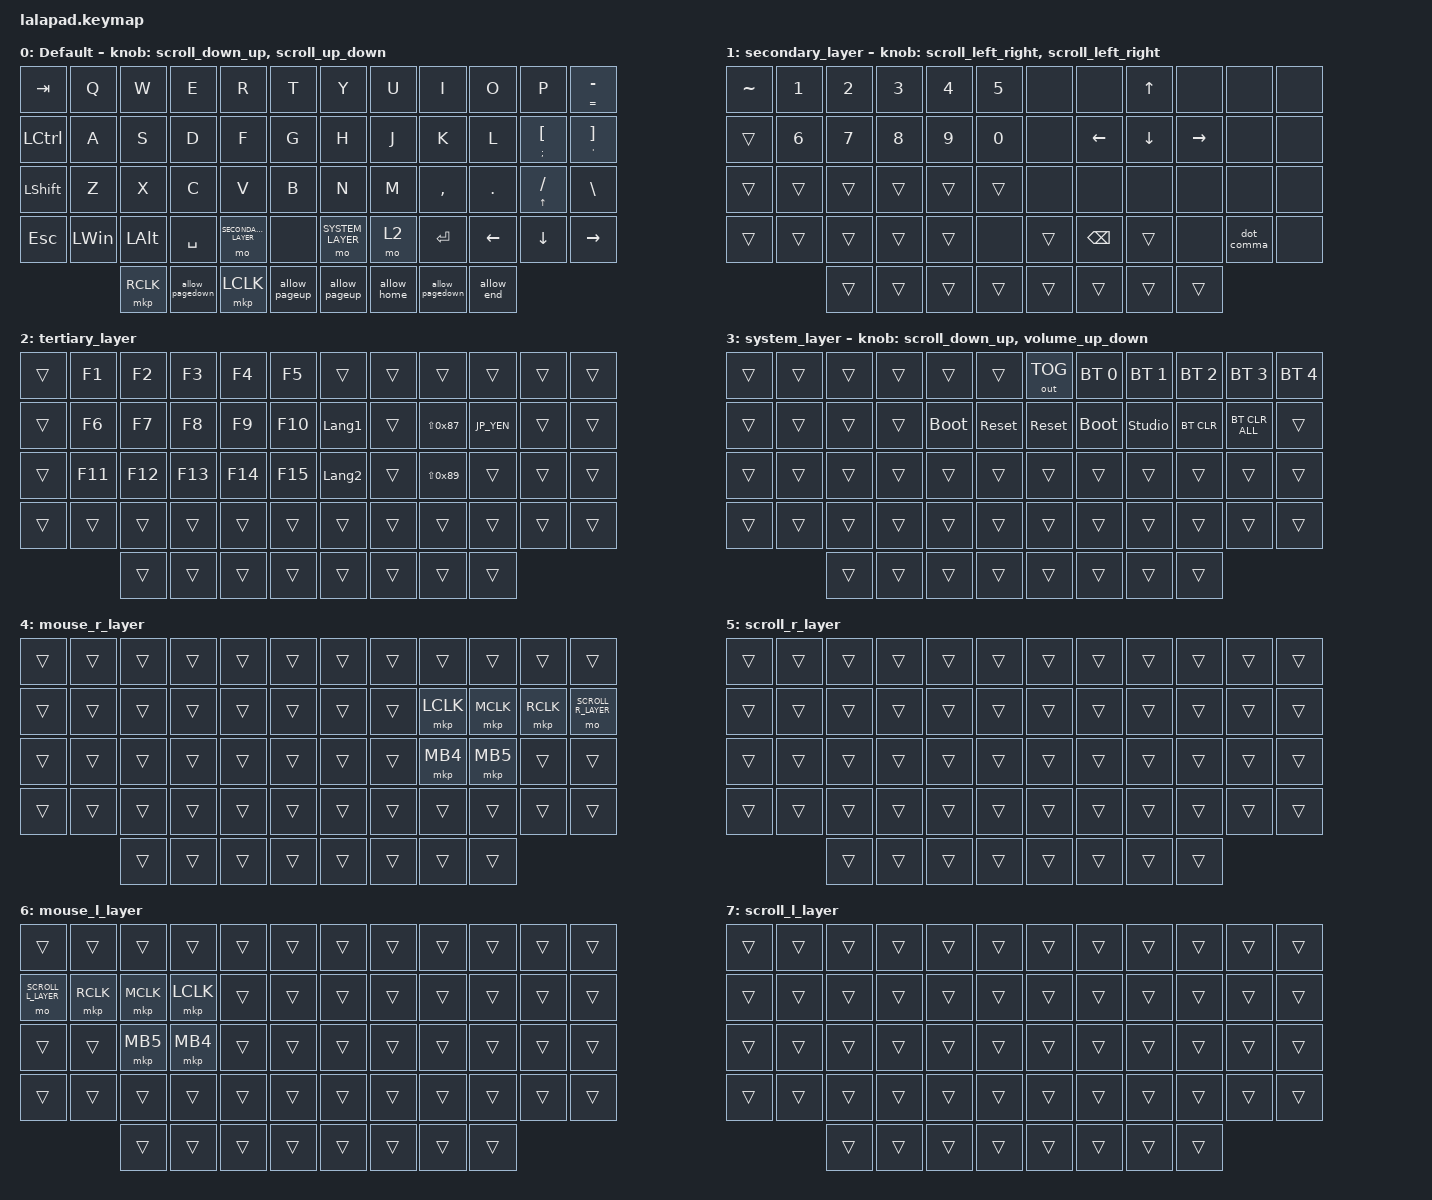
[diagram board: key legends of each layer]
#include <input/processors.dtsi>
#include <behaviors.dtsi>
#include <dt-bindings/zmk/bt.h>
#include <dt-bindings/zmk/keys.h>
#include <dt-bindings/zmk/outputs.h>
#include <dt-bindings/zmk/pointing.h>

#define DEFAULT_LAYER   0
#define SECONDARY_LAYER 1
#define TERTIARY_LAYER  2
#define SYSTEM_LAYER    3
#define MOUSE_R_LAYER   4
#define SCROLL_R_LAYER  5
#define MOUSE_L_LAYER   6
#define SCROLL_L_LAYER  7
#define JP_UNDERSCORE   LS(0x87)          // _
#define JP_PIPE         LS(0x89)          // |
#define JP_YEN          0x89              // ¥

// Mouse Scroll Value

#define ZMK_POINTING_DEFAULT_SCRL_VAL 100

// cirque trackpad input&layer control

&glidepoint_listener_R {
    input-processors =
        <&zip_xy_transform (INPUT_TRANSFORM_XY_SWAP | INPUT_TRANSFORM_X_INVERT | INPUT_TRANSFORM_Y_INVERT)>,
        <&zip_xy_scaler 3 2>,
        <&zip_temp_layer MOUSE_R_LAYER 500>;

    lowspeedmode {
        layers = <SECONDARY_LAYER>;
        input-processors =
            <&zip_xy_transform (INPUT_TRANSFORM_XY_SWAP | INPUT_TRANSFORM_X_INVERT | INPUT_TRANSFORM_Y_INVERT)>,
            <&zip_xy_scaler 3 5>,
            <&zip_temp_layer MOUSE_R_LAYER 500>;
    };

    scroller {
        layers = <SCROLL_R_LAYER>;
        input-processors =
            <&zip_xy_to_scroll_mapper>,
            <&zip_scroll_transform (INPUT_TRANSFORM_XY_SWAP | INPUT_TRANSFORM_Y_INVERT)>,
            <&zip_scroll_scaler 1 8>;
    };
};

&glidepoint_listener_L {
    input-processors =
        <&zip_xy_transform (INPUT_TRANSFORM_XY_SWAP | INPUT_TRANSFORM_X_INVERT | INPUT_TRANSFORM_Y_INVERT)>,
        <&zip_xy_scaler 3 2>,
        <&zip_temp_layer MOUSE_L_LAYER 500>;

    lowspeedmode {
        layers = <SECONDARY_LAYER>;
        input-processors =
            <&zip_xy_transform (INPUT_TRANSFORM_XY_SWAP | INPUT_TRANSFORM_X_INVERT | INPUT_TRANSFORM_Y_INVERT)>,
            <&zip_xy_scaler 3 4>,
            <&zip_temp_layer MOUSE_L_LAYER 500>;
    };

    scroller {
        layers = <SCROLL_L_LAYER>;
        input-processors =
            <&zip_xy_to_scroll_mapper>,
            <&zip_scroll_transform (INPUT_TRANSFORM_XY_SWAP | INPUT_TRANSFORM_Y_INVERT)>,
            <&zip_scroll_scaler 1 6>;
    };
};

/ {
    behaviors {
        // Encoder to Mouse Scroll

        scroll_up_down: sensor_scroll_up_down {
            compatible = "zmk,behavior-sensor-rotate";
            #sensor-binding-cells = <0>;
            bindings = <&msc SCRL_UP>, <&msc SCRL_DOWN>;

            tap-ms = <20>;
            label = "SCROLL_UP_DOWN";
        };

        scroll_down_up: sensor_scroll_down_up {
            compatible = "zmk,behavior-sensor-rotate";
            #sensor-binding-cells = <0>;
            bindings = <&msc SCRL_DOWN>, <&msc SCRL_UP>;

            tap-ms = <20>;
            label = "SCROLL_DOWN_UP";
        };

        scroll_left_right: sensor_scroll_left_right {
            compatible = "zmk,behavior-sensor-rotate";
            #sensor-binding-cells = <0>;
            bindings = <&msc SCRL_LEFT>, <&msc SCRL_RIGHT>;

            tap-ms = <20>;
            label = "SCROLL_LEFT_RIGHT";
        };

        scroll_right_left: sensor_scroll_right_left {
            compatible = "zmk,behavior-sensor-rotate";
            #sensor-binding-cells = <0>;
            bindings = <&msc SCRL_RIGHT>, <&msc SCRL_LEFT>;

            tap-ms = <20>;
            label = "SCROLL_RIGHT_LEFT";
        };

        volume_up_down: sensor_volume_up_down {
            compatible = "zmk,behavior-sensor-rotate";
            #sensor-binding-cells = <0>;
            bindings = <&kp C_VOLUME_UP>, <&kp C_VOLUME_DOWN>;

            tap-ms = <20>;
            label = "VOLUME_UP_DOWN";
        };

        dot_comma: dot_comma {
            compatible = "zmk,behavior-mod-morph";
            #binding-cells = <0>;
            bindings = <&kp KP_DOT>, <&kp COMMA>;

            mods = <(MOD_LSFT|MOD_RSFT)>;
            label = "DOT_COMMA";
        };

        pls_minus: pls_minus {
            compatible = "zmk,behavior-mod-morph";
            #binding-cells = <0>;
            bindings = <&kp PLUS>, <&kp MINUS>;

            mods = <(MOD_LSFT|MOD_RSFT)>;
            label = "PLS_MINUS";
        };

        allow_pageup: allow_pageup {
            compatible = "zmk,behavior-mod-morph";
            #binding-cells = <0>;
            bindings = <&kp UP>, <&kp PAGE_UP>;

            mods = <(MOD_LCTL|MOD_RCTL)>;
            label = "ALLOW_PAGEUP";
        };

        allow_pagedown: allow_pagedown {
            compatible = "zmk,behavior-mod-morph";
            #binding-cells = <0>;
            bindings = <&kp DOWN>, <&kp PAGE_DOWN>;

            mods = <(MOD_LCTL|MOD_RCTL)>;
            label = "ALLOW_PAGEDOWN";
        };

        allow_home: allow_home {
            compatible = "zmk,behavior-mod-morph";
            #binding-cells = <0>;
            bindings = <&kp LEFT>, <&kp HOME>;

            mods = <(MOD_LCTL|MOD_RCTL)>;
            label = "ALLOW_HOME";
        };

        allow_end: allow_end {
            compatible = "zmk,behavior-mod-morph";
            #binding-cells = <0>;
            bindings = <&kp RIGHT>, <&kp END>;

            mods = <(MOD_LCTL|MOD_RCTL)>;
            label = "ALLOW_END";
        };

        mt2: mod_tap2 {
            compatible = "zmk,behavior-hold-tap";
            #binding-cells = <2>;
            flavor = "tap-preferred";
            tapping-term-ms = <200>;
            quick-tap-ms = <200>;
            require-prior-idle-ms = <125>;
            bindings = <&kp>, <&kp>;
        };
    };

    keymap {
        compatible = "zmk,keymap";

        DEFAULT_LAYER {
            display-name = "Default";
            sensor-bindings = <&scroll_down_up>, <&scroll_up_down>;

            bindings = <
&kp TAB           &kp Q         &kp W         &kp E            &kp R                &kp T          &kp Y             &kp U        &kp I            &kp O       &kp P           &mt EQUAL MINUS
&kp LEFT_CONTROL  &kp A         &kp S         &kp D            &kp F                &kp G          &kp H             &kp J        &kp K            &kp L       &mt2 SEMI LBKT  &mt2 SQT RBKT
&kp LSHFT         &kp Z         &kp X         &kp C            &kp V                &kp B          &kp N             &kp M        &kp COMMA        &kp PERIOD  &mt2 UP SLASH   &kp BSLH
&kp ESCAPE        &kp LEFT_WIN  &kp LEFT_ALT  &kp SPACE        &mo SECONDARY_LAYER  &none          &mo SYSTEM_LAYER  &mo 2        &kp RET          &kp LEFT    &kp DOWN        &kp RIGHT
                                &mkp RCLK     &allow_pagedown  &mkp LCLK            &allow_pageup  &allow_pageup     &allow_home  &allow_pagedown  &allow_end
            >;
        };

        SECONDARY_LAYER {
            display-name = "secondary_layer";
            sensor-bindings = <&scroll_left_right>, <&scroll_left_right>;

            bindings = <
&kp TILDE  &kp NUMBER_1  &kp NUMBER_2  &kp NUMBER_3  &kp NUMBER_4  &kp NUMBER_5  &none   &none          &kp UP    &none      &none       &none
&trans     &kp NUMBER_6  &kp NUMBER_7  &kp NUMBER_8  &kp NUMBER_9  &kp NUMBER_0  &none   &kp LEFT       &kp DOWN  &kp RIGHT  &none       &none
&trans     &trans        &trans        &trans        &trans        &trans        &none   &none          &none     &none      &none       &none
&trans     &trans        &trans        &trans        &trans        &none         &trans  &kp BACKSPACE  &trans    &none      &dot_comma  &none
                         &trans        &trans        &trans        &trans        &trans  &trans         &trans    &trans
            >;
        };

        TERTIARY_LAYER {
            display-name = "tertiary_layer";
            bindings = <
&trans  &kp F1   &kp F2   &kp F3   &kp F4   &kp F5   &trans          &trans  &trans             &trans           &trans  &trans
&trans  &kp F6   &kp F7   &kp F8   &kp F9   &kp F10  &kp LANGUAGE_1  &trans  &kp JP_UNDERSCORE  &kp JP_YEN       &trans  &trans
&trans  &kp F11  &kp F12  &kp F13  &kp F14  &kp F15  &kp LANGUAGE_2  &trans  &kp JP_PIPE        &trans           &trans  &trans
&trans  &trans   &trans   &trans   &trans   &trans   &trans          &trans  &trans             &trans           &trans  &trans
                 &trans   &trans   &trans   &trans   &trans          &trans  &trans             &trans
            >;
        };

        SYSTEM_LAYER {
            display-name = "system_layer";
            sensor-bindings = <&scroll_down_up>, <&volume_up_down>;

            bindings = <
&trans  &trans  &trans  &trans  &trans       &trans      &out OUT_TOG  &bt BT_SEL 0  &bt BT_SEL 1    &bt BT_SEL 2  &bt BT_SEL 3    &bt BT_SEL 4
&trans  &trans  &trans  &trans  &bootloader  &sys_reset  &sys_reset    &bootloader   &studio_unlock  &bt BT_CLR    &bt BT_CLR_ALL  &trans
&trans  &trans  &trans  &trans  &trans       &trans      &trans        &trans        &trans          &trans        &trans          &trans
&trans  &trans  &trans  &trans  &trans       &trans      &trans        &trans        &trans          &trans        &trans          &trans
                &trans  &trans  &trans       &trans      &trans        &trans        &trans          &trans
            >;
        };

        MOUSE_R_LAYER {
            display-name = "mouse_r_layer";
            bindings = <
&trans  &trans  &trans  &trans  &trans  &trans  &trans  &trans  &trans     &trans     &trans     &trans
&trans  &trans  &trans  &trans  &trans  &trans  &trans  &trans  &mkp LCLK  &mkp MCLK  &mkp RCLK  &mo SCROLL_R_LAYER
&trans  &trans  &trans  &trans  &trans  &trans  &trans  &trans  &mkp MB4   &mkp MB5   &trans     &trans
&trans  &trans  &trans  &trans  &trans  &trans  &trans  &trans  &trans     &trans     &trans     &trans
                &trans  &trans  &trans  &trans  &trans  &trans  &trans     &trans
            >;
        };

        SCROLL_R_LAYER {
            display-name = "scroll_r_layer";
            bindings = <
&trans  &trans  &trans  &trans  &trans  &trans  &trans  &trans  &trans  &trans  &trans  &trans
&trans  &trans  &trans  &trans  &trans  &trans  &trans  &trans  &trans  &trans  &trans  &trans
&trans  &trans  &trans  &trans  &trans  &trans  &trans  &trans  &trans  &trans  &trans  &trans
&trans  &trans  &trans  &trans  &trans  &trans  &trans  &trans  &trans  &trans  &trans  &trans
                &trans  &trans  &trans  &trans  &trans  &trans  &trans  &trans
            >;
        };

        MOUSE_L_LAYER {
            display-name = "mouse_l_layer";
            bindings = <
&trans              &trans     &trans     &trans     &trans  &trans  &trans  &trans  &trans  &trans  &trans  &trans
&mo SCROLL_L_LAYER  &mkp RCLK  &mkp MCLK  &mkp LCLK  &trans  &trans  &trans  &trans  &trans  &trans  &trans  &trans
&trans              &trans     &mkp MB5   &mkp MB4   &trans  &trans  &trans  &trans  &trans  &trans  &trans  &trans
&trans              &trans     &trans     &trans     &trans  &trans  &trans  &trans  &trans  &trans  &trans  &trans
                               &trans     &trans     &trans  &trans  &trans  &trans  &trans  &trans
            >;
        };

        SCROLL_L_LAYER {
            display-name = "scroll_l_layer";
            bindings = <
&trans  &trans  &trans  &trans  &trans  &trans  &trans  &trans  &trans  &trans  &trans  &trans
&trans  &trans  &trans  &trans  &trans  &trans  &trans  &trans  &trans  &trans  &trans  &trans
&trans  &trans  &trans  &trans  &trans  &trans  &trans  &trans  &trans  &trans  &trans  &trans
&trans  &trans  &trans  &trans  &trans  &trans  &trans  &trans  &trans  &trans  &trans  &trans
                &trans  &trans  &trans  &trans  &trans  &trans  &trans  &trans
            >;
        };
    };
};
